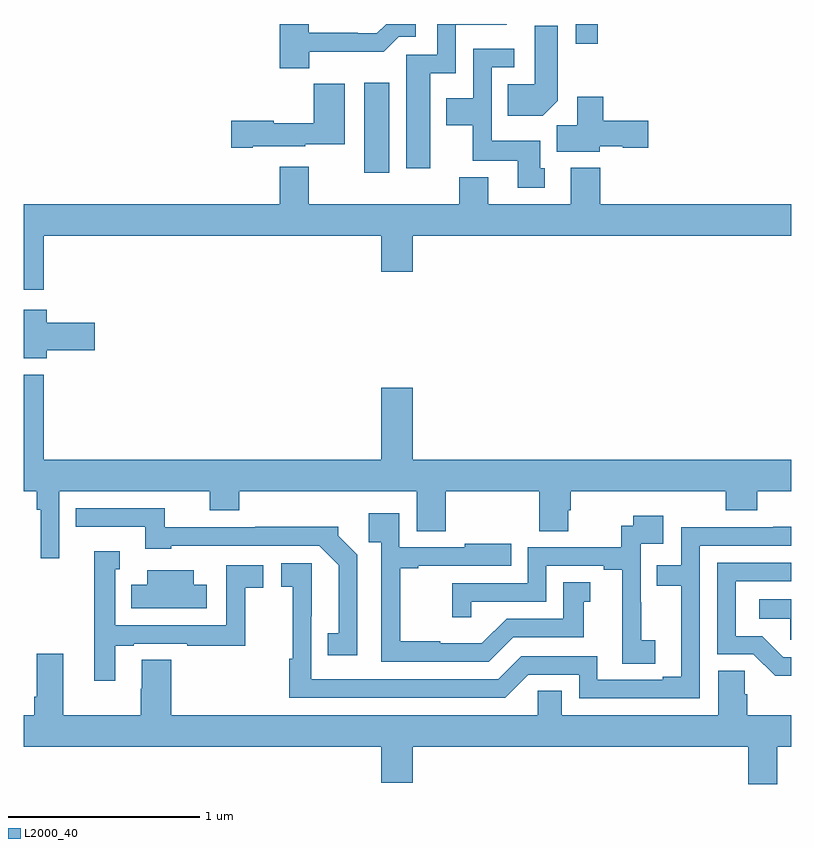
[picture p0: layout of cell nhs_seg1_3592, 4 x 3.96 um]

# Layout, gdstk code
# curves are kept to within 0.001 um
import gdstk
lib = gdstk.Library(unit=1e-6, precision=1e-09)
def R(c, l, rs):  # rectangles x0, y0, x1, y1
    for r in rs: c.add(gdstk.rectangle(r[:2], r[2:], *l))
def P(c, l, *ps):  # polygons
    for p in ps: c.add(gdstk.Polygon(p, *l))
L2000_40 = (2000, 40)

nhs_seg1_3592 = lib.new_cell('nhs_seg1_3592')
R(nhs_seg1_3592, L2000_40, [(308.774,521.424,308.905,521.893), (309.876,522.096,309.992,522.199)])
P(nhs_seg1_3592, L2000_40, [(308.488,522.054),(308.877,522.054),(308.955,522.132),(309.043,522.132),(309.043,522.199),(308.889,522.199),(308.84,522.15),(308.741,522.15),(308.741,522.153),(308.485,522.153),(308.485,522.199),(308.333,522.199),(308.333,521.969),(308.488,521.969)],
  [(309.118,521.942),(309.252,521.942),(309.252,522.194),(309.517,522.194),(309.517,522.199),(309.128,522.199),(309.128,522.198),(309.156,522.198),(309.156,522.039),(308.993,522.039),(308.993,521.448),(309.118,521.448)],
  [(309.784,521.798),(309.784,522.19),(309.662,522.19),(309.662,521.884),(309.523,521.884),(309.523,521.72),(309.706,521.72)],
  [(309.715,521.448),(309.691,521.448),(309.691,521.59),(309.438,521.59),(309.438,521.973),(309.556,521.973),(309.556,522.069),(309.342,522.069),(309.342,521.812),(309.203,521.812),(309.203,521.672),(309.34,521.672),(309.34,521.486),(309.575,521.486),(309.575,521.346),(309.715,521.346)],
  [(308.194,521.561),(308.466,521.561),(308.466,521.573),(308.674,521.573),(308.674,521.887),(308.512,521.887),(308.512,521.683),(308.304,521.683),(308.304,521.696),(308.082,521.696),(308.082,521.554),(308.194,521.554)],
  [(310.002,521.561),(310.122,521.561),(310.122,521.554),(310.255,521.554),(310.255,521.696),(310.019,521.696),(310.019,521.821),(309.884,521.821),(309.884,521.672),(309.779,521.672),(309.779,521.534),(310.002,521.534)],
  [(307.105,521.096),(308.864,521.096),(308.864,520.908),(309.028,520.908),(309.028,521.096),(311,521.096),(311,521.26),(310.004,521.26),(310.004,521.449),(309.851,521.449),(309.851,521.26),(309.421,521.26),(309.421,521.401),(309.269,521.401),(309.269,521.26),(308.485,521.26),(308.485,521.455),(308.333,521.455),(308.333,521.26),(307,521.26),(307,520.815),(307.105,520.815)],
  [(307.12,520.499),(307.369,520.499),(307.369,520.641),(307.12,520.641),(307.12,520.711),(307,520.711),(307,520.457),(307.12,520.457)],
  [(307.185,519.764),(307.97,519.764),(307.97,519.665),(308.123,519.665),(308.123,519.764),(309.047,519.764),(309.047,519.556),(309.2,519.556),(309.2,519.764),(309.686,519.764),(309.686,519.556),(309.838,519.556),(309.838,519.666),(309.851,519.666),(309.851,519.764),(310.658,519.764),(310.658,519.665),(310.823,519.665),(310.823,519.764),(311,519.764),(311,519.928),(309.028,519.928),(309.028,520.303),(308.864,520.303),(308.864,519.928),(307.105,519.928),(307.105,520.372),(307,520.372),(307,519.764),(307.069,519.764),(307.069,519.668),(307.088,519.668),(307.088,519.414),(307.185,519.414)],
  [(308.739,519.434),(308.64,519.533),(308.64,519.578),(308.206,519.578),(308.206,519.576),(307.734,519.576),(307.734,519.675),(307.27,519.675),(307.27,519.579),(307.634,519.579),(307.634,519.464),(307.77,519.464),(307.77,519.48),(308.541,519.48),(308.642,519.379),(308.642,519.023),(308.584,519.023),(308.584,518.91),(308.739,518.91)],
  [(309.552,519.003),(309.919,519.003),(309.919,519.187),(309.952,519.187),(309.952,519.29),(309.812,519.29),(309.812,519.099),(309.516,519.099),(309.388,518.971),(309.17,518.971),(309.17,518.983),(308.963,518.983),(308.963,519.363),(309.055,519.363),(309.055,519.375),(309.542,519.375),(309.542,519.49),(309.299,519.49),(309.299,519.471),(308.958,519.471),(308.958,519.649),(308.797,519.649),(308.797,519.497),(308.862,519.497),(308.862,518.874),(309.423,518.874)],
  [(310.291,518.988),(310.217,518.988),(310.217,519.185),(310.215,519.185),(310.215,519.489),(310.333,519.489),(310.333,519.637),(310.177,519.637),(310.177,519.585),(310.114,519.585),(310.114,519.471),(309.627,519.471),(309.627,519.285),(309.232,519.285),(309.232,519.108),(309.333,519.108),(309.333,519.189),(309.723,519.189),(309.723,519.375),(310.022,519.375),(310.022,519.355),(310.118,519.355),(310.118,518.977),(310.12,518.977),(310.12,518.866),(310.291,518.866)],
  [(310.524,519.48),(311,519.48),(311,519.578),(310.906,519.578),(310.906,519.576),(310.428,519.576),(310.428,519.378),(310.3,519.378),(310.3,519.27),(310.427,519.27),(310.427,518.796),(310.331,518.796),(310.331,518.781),(309.99,518.781),(309.99,518.904),(309.594,518.904),(309.474,518.784),(308.499,518.784),(308.5,519.388),(308.343,519.388),(308.343,519.267),(308.401,519.267),(308.401,518.891),(308.383,518.891),(308.383,518.688),(309.51,518.688),(309.63,518.808),(309.894,518.808),(309.894,518.685),(310.524,518.685)],
  [(307.477,518.958),(307.573,518.958),(307.573,518.97),(307.852,518.97),(307.852,518.958),(308.154,518.958),(308.154,519.262),(308.248,519.262),(308.248,519.378),(308.055,519.378),(308.055,519.066),(307.476,519.066),(307.476,519.357),(307.501,519.357),(307.501,519.451),(307.368,519.451),(307.368,519.019),(307.367,519.019),(307.367,518.775),(307.477,518.775)],
  [(311,518.898),(310.959,518.898),(310.848,519.009),(310.71,519.009),(310.71,519.294),(311,519.294),(311,519.39),(310.614,519.39),(310.614,518.913),(310.803,518.913),(310.916,518.801),(311,518.801)],
  [(307.954,519.277),(307.885,519.277),(307.885,519.352),(307.643,519.352),(307.643,519.277),(307.561,519.277),(307.561,519.155),(307.954,519.155)],
  [(311,519.202),(310.833,519.202),(310.833,519.098),(310.995,519.098),(310.995,518.991),(311,518.991)],
  [(310.927,518.432),(311,518.432),(311,518.596),(310.772,518.596),(310.772,518.705),(310.758,518.705),(310.758,518.828),(310.619,518.828),(310.619,518.596),(309.805,518.596),(309.805,518.723),(309.678,518.723),(309.678,518.596),(307.769,518.596),(307.769,518.885),(307.616,518.885),(307.616,518.735),(307.609,518.735),(307.609,518.596),(307.207,518.596),(307.207,518.917),(307.067,518.917),(307.067,518.692),(307.055,518.692),(307.055,518.596),(307,518.596),(307,518.432),(308.864,518.432),(308.864,518.244),(309.028,518.244),(309.028,518.432),(310.775,518.432),(310.775,518.238),(310.927,518.238)])

lib.write_gds('nhs_seg1_3592.gds')
